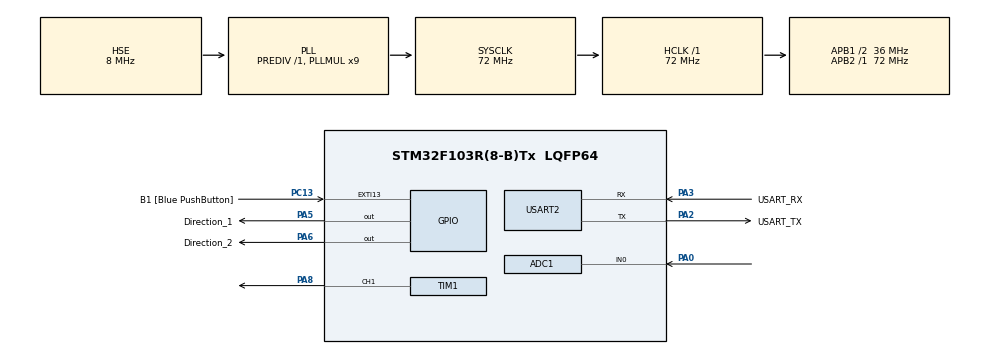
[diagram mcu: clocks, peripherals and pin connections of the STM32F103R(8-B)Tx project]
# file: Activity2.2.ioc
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ADC1.Channel-0\#ChannelRegularConversion=ADC_CHANNEL_0
ADC1.ContinuousConvMode=ENABLE
ADC1.NbrOfConversionFlag=1
ADC1.Rank-0\#ChannelRegularConversion=1
ADC1.SamplingTime-0\#ChannelRegularConversion=ADC_SAMPLETIME_28CYCLES_5
ADC1.master=1
Mcu.Family=STM32F1
Mcu.Name=STM32F103R(8-B)Tx
Mcu.Package=LQFP64
NVIC.EXTI15_10_IRQn=true\:0\:0\:false\:false\:true\:true\:true\:true
NVIC.PriorityGroup=NVIC_PRIORITYGROUP_4
PA0-WKUP.Signal=ADCx_IN0
PA13.GPIO_Label=TMS
PA13.Mode=Serial_Wire
PA13.Signal=SYS_JTMS-SWDIO
PA14.GPIO_Label=TCK
PA14.Mode=Serial_Wire
PA14.Signal=SYS_JTCK-SWCLK
PA2.GPIO_Label=USART_TX
PA2.GPIO_Mode=GPIO_MODE_AF_PP
PA2.GPIO_PuPd=GPIO_NOPULL
PA2.GPIO_Speed=GPIO_SPEED_FREQ_LOW
PA2.Mode=Asynchronous
PA2.Signal=USART2_TX
PA3.GPIO_Label=USART_RX
PA3.GPIO_Mode=GPIO_MODE_AF_PP
PA3.GPIO_PuPd=GPIO_NOPULL
PA3.GPIO_Speed=GPIO_SPEED_FREQ_LOW
PA3.Mode=Asynchronous
PA3.Signal=USART2_RX
PA5.GPIO_Label=Direction_1
PA5.Signal=GPIO_Output
PA6.GPIO_Label=Direction_2
PA6.Signal=GPIO_Output
PA8.Signal=S_TIM1_CH1
PB3.GPIO_Label=SWO
PB3.Signal=SYS_JTDO-TRACESWO
PC13-TAMPER-RTC.GPIO_Label=B1 [Blue PushButton]
PC13-TAMPER-RTC.GPIO_PuPd=GPIO_NOPULL
PC13-TAMPER-RTC.Signal=GPXTI13
PC14-OSC32_IN.Mode=LSE-External-Oscillator
PC14-OSC32_IN.Signal=RCC_OSC32_IN
PC15-OSC32_OUT.Mode=LSE-External-Oscillator
PC15-OSC32_OUT.Signal=RCC_OSC32_OUT
PD0-OSC_IN.Mode=HSE-External-Clock-Source
PD0-OSC_IN.Signal=RCC_OSC_IN
PD1-OSC_OUT.Mode=HSE-External-Clock-Source
PD1-OSC_OUT.Signal=RCC_OSC_OUT
ProjectManager.HeapSize=0x200
ProjectManager.StackSize=0x400
ProjectManager.TargetToolchain=STM32CubeIDE
RCC.ADCPresc=RCC_ADCPCLK2_DIV6
RCC.AHBFreq_Value=72000000
RCC.APB1CLKDivider=RCC_HCLK_DIV2
RCC.APB1Freq_Value=36000000
RCC.APB1TimFreq_Value=72000000
RCC.APB2Freq_Value=72000000
RCC.APB2TimFreq_Value=72000000
RCC.HCLKFreq_Value=72000000
RCC.PLLMUL=RCC_PLL_MUL9
RCC.PLLSourceVirtual=RCC_PLLSOURCE_HSE
RCC.RTCClockSelection=RCC_RTCCLKSOURCE_LSE
RCC.SYSCLKFreq_VALUE=72000000
RCC.SYSCLKSource=RCC_SYSCLKSOURCE_PLLCLK
RCC.USBFreq_Value=72000000
SH.ADCx_IN0.0=ADC1_IN0,IN0
SH.S_TIM1_CH1.0=TIM1_CH1,PWM Generation1 CH1
TIM1.AutoReloadPreload=TIM_AUTORELOAD_PRELOAD_ENABLE
TIM1.Channel-PWM\ Generation1\ CH1=TIM_CHANNEL_1
TIM1.OCFastMode_PWM-PWM\ Generation1\ CH1=TIM_OCFAST_ENABLE
TIM1.Period=35999
TIM1.Pulse-PWM\ Generation1\ CH1=0
USART2.VirtualMode=VM_ASYNC
VP_TIM1_VS_ClockSourceINT.Mode=Internal
board=NUCLEO-F103RB

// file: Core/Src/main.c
/* USER CODE BEGIN Header */
/**
  ******************************************************************************
  * @file           : main.c
  * @brief          : Main program body
  ******************************************************************************
  * @attention
  *
  * Copyright (c) 2025 STMicroelectronics.
  * All rights reserved.
  *
  * This software is licensed under terms that can be found in the LICENSE file
  * in the root directory of this software component.
  * If no LICENSE file comes with this software, it is provided AS-IS.
  *
  ******************************************************************************
  */
/* USER CODE END Header */
#include "main.h"

ADC_HandleTypeDef hadc1;

TIM_HandleTypeDef htim1;

UART_HandleTypeDef huart2;

void SystemClock_Config(void);
static void MX_GPIO_Init(void);
static void MX_USART2_UART_Init(void);
static void MX_ADC1_Init(void);
static void MX_TIM1_Init(void);

/* USER CODE BEGIN 0 */
int CH1_DC;
uint16_t VAL_Analog_Input;
float VAL_CCW = 1999;
float VAL_CW = 1695;
void Read_Potentiometer(void);
/* USER CODE END 0 */

int main(void)
{

  /* MCU Configuration--------------------------------------------------------*/

  /* Reset of all peripherals, Initializes the Flash interface and the Systick. */
  HAL_Init();

  /* Configure the system clock */
  SystemClock_Config();

  /* Initialize all configured peripherals */
  MX_GPIO_Init();
  MX_USART2_UART_Init();
  MX_ADC1_Init();
  MX_TIM1_Init();
  /* USER CODE BEGIN 2 */
  HAL_TIM_PWM_Start(&htim1, TIM_CHANNEL_1);
  HAL_GPIO_WritePin(GPIOC, GPIO_PIN_13, 1);
  CH1_DC = 0;
  /* USER CODE END 2 */

  /* Infinite loop */
  /* USER CODE BEGIN WHILE */
  while (1)
  {
	  Read_Potentiometer();
	  if (VAL_Analog_Input < 2000){
		  HAL_GPIO_WritePin(Direction_1_GPIO_Port, Direction_1_Pin, GPIO_PIN_SET);
		  HAL_GPIO_WritePin(Direction_2_GPIO_Port, Direction_2_Pin, GPIO_PIN_RESET);
		  CH1_DC = ((2000-VAL_Analog_Input)/VAL_CCW)*36000;

	  }
	  else if(VAL_Analog_Input > 2400){
		  HAL_GPIO_WritePin(Direction_1_GPIO_Port, Direction_1_Pin, GPIO_PIN_RESET);
		  HAL_GPIO_WritePin(Direction_2_GPIO_Port, Direction_2_Pin, GPIO_PIN_SET);
		  CH1_DC = ((VAL_Analog_Input-2400)/VAL_CW)*36000;

	  }
	  else{
		  CH1_DC = 0;
	  }
	  TIM1 -> CCR1 = CH1_DC;

    /* USER CODE END WHILE */

  }
}

void SystemClock_Config(void)
{
  RCC_OscInitTypeDef RCC_OscInitStruct = {0};
  RCC_ClkInitTypeDef RCC_ClkInitStruct = {0};
  RCC_PeriphCLKInitTypeDef PeriphClkInit = {0};

  /** Initializes the RCC Oscillators according to the specified parameters
  * in the RCC_OscInitTypeDef structure.
  */
  RCC_OscInitStruct.OscillatorType = RCC_OSCILLATORTYPE_HSE;
  RCC_OscInitStruct.HSEState = RCC_HSE_BYPASS;
  RCC_OscInitStruct.HSEPredivValue = RCC_HSE_PREDIV_DIV1;
  RCC_OscInitStruct.HSIState = RCC_HSI_ON;
  RCC_OscInitStruct.PLL.PLLState = RCC_PLL_ON;
  RCC_OscInitStruct.PLL.PLLSource = RCC_PLLSOURCE_HSE;
  RCC_OscInitStruct.PLL.PLLMUL = RCC_PLL_MUL9;
  if (HAL_RCC_OscConfig(&RCC_OscInitStruct) != HAL_OK)
  {
    Error_Handler();
  }

  /** Initializes the CPU, AHB and APB buses clocks
  */
  RCC_ClkInitStruct.ClockType = RCC_CLOCKTYPE_HCLK|RCC_CLOCKTYPE_SYSCLK
                              |RCC_CLOCKTYPE_PCLK1|RCC_CLOCKTYPE_PCLK2;
  RCC_ClkInitStruct.SYSCLKSource = RCC_SYSCLKSOURCE_PLLCLK;
  RCC_ClkInitStruct.AHBCLKDivider = RCC_SYSCLK_DIV1;
  RCC_ClkInitStruct.APB1CLKDivider = RCC_HCLK_DIV2;
  RCC_ClkInitStruct.APB2CLKDivider = RCC_HCLK_DIV1;

  if (HAL_RCC_ClockConfig(&RCC_ClkInitStruct, FLASH_LATENCY_2) != HAL_OK)
  {
    Error_Handler();
  }
  PeriphClkInit.PeriphClockSelection = RCC_PERIPHCLK_ADC;
  PeriphClkInit.AdcClockSelection = RCC_ADCPCLK2_DIV6;
  if (HAL_RCCEx_PeriphCLKConfig(&PeriphClkInit) != HAL_OK)
  {
    Error_Handler();
  }
}

static void MX_ADC1_Init(void)
{

  ADC_ChannelConfTypeDef sConfig = {0};

  /** Common config
  */
  hadc1.Instance = ADC1;
  hadc1.Init.ScanConvMode = ADC_SCAN_DISABLE;
  hadc1.Init.ContinuousConvMode = ENABLE;
  hadc1.Init.DiscontinuousConvMode = DISABLE;
  hadc1.Init.ExternalTrigConv = ADC_SOFTWARE_START;
  hadc1.Init.DataAlign = ADC_DATAALIGN_RIGHT;
  hadc1.Init.NbrOfConversion = 1;
  if (HAL_ADC_Init(&hadc1) != HAL_OK)
  {
    Error_Handler();
  }

  /** Configure Regular Channel
  */
  sConfig.Channel = ADC_CHANNEL_0;
  sConfig.Rank = ADC_REGULAR_RANK_1;
  sConfig.SamplingTime = ADC_SAMPLETIME_28CYCLES_5;
  if (HAL_ADC_ConfigChannel(&hadc1, &sConfig) != HAL_OK)
  {
    Error_Handler();
  }

}

static void MX_TIM1_Init(void)
{

  TIM_ClockConfigTypeDef sClockSourceConfig = {0};
  TIM_MasterConfigTypeDef sMasterConfig = {0};
  TIM_OC_InitTypeDef sConfigOC = {0};
  TIM_BreakDeadTimeConfigTypeDef sBreakDeadTimeConfig = {0};

  htim1.Instance = TIM1;
  htim1.Init.Prescaler = 0;
  htim1.Init.CounterMode = TIM_COUNTERMODE_UP;
  htim1.Init.Period = 35999;
  htim1.Init.ClockDivision = TIM_CLOCKDIVISION_DIV1;
  htim1.Init.RepetitionCounter = 0;
  htim1.Init.AutoReloadPreload = TIM_AUTORELOAD_PRELOAD_ENABLE;
  if (HAL_TIM_Base_Init(&htim1) != HAL_OK)
  {
    Error_Handler();
  }
  sClockSourceConfig.ClockSource = TIM_CLOCKSOURCE_INTERNAL;
  if (HAL_TIM_ConfigClockSource(&htim1, &sClockSourceConfig) != HAL_OK)
  {
    Error_Handler();
  }
  if (HAL_TIM_PWM_Init(&htim1) != HAL_OK)
  {
    Error_Handler();
  }
  sMasterConfig.MasterOutputTrigger = TIM_TRGO_RESET;
  sMasterConfig.MasterSlaveMode = TIM_MASTERSLAVEMODE_DISABLE;
  if (HAL_TIMEx_MasterConfigSynchronization(&htim1, &sMasterConfig) != HAL_OK)
  {
    Error_Handler();
  }
  sConfigOC.OCMode = TIM_OCMODE_PWM1;
  sConfigOC.Pulse = 0;
  sConfigOC.OCPolarity = TIM_OCPOLARITY_HIGH;
  sConfigOC.OCNPolarity = TIM_OCNPOLARITY_HIGH;
  sConfigOC.OCFastMode = TIM_OCFAST_ENABLE;
  sConfigOC.OCIdleState = TIM_OCIDLESTATE_RESET;
  sConfigOC.OCNIdleState = TIM_OCNIDLESTATE_RESET;
  if (HAL_TIM_PWM_ConfigChannel(&htim1, &sConfigOC, TIM_CHANNEL_1) != HAL_OK)
  {
    Error_Handler();
  }
  sBreakDeadTimeConfig.OffStateRunMode = TIM_OSSR_DISABLE;
  sBreakDeadTimeConfig.OffStateIDLEMode = TIM_OSSI_DISABLE;
  sBreakDeadTimeConfig.LockLevel = TIM_LOCKLEVEL_OFF;
  sBreakDeadTimeConfig.DeadTime = 0;
  sBreakDeadTimeConfig.BreakState = TIM_BREAK_DISABLE;
  sBreakDeadTimeConfig.BreakPolarity = TIM_BREAKPOLARITY_HIGH;
  sBreakDeadTimeConfig.AutomaticOutput = TIM_AUTOMATICOUTPUT_DISABLE;
  if (HAL_TIMEx_ConfigBreakDeadTime(&htim1, &sBreakDeadTimeConfig) != HAL_OK)
  {
    Error_Handler();
  }
  HAL_TIM_MspPostInit(&htim1);

}

static void MX_USART2_UART_Init(void)
{

  huart2.Instance = USART2;
  huart2.Init.BaudRate = 115200;
  huart2.Init.WordLength = UART_WORDLENGTH_8B;
  huart2.Init.StopBits = UART_STOPBITS_1;
  huart2.Init.Parity = UART_PARITY_NONE;
  huart2.Init.Mode = UART_MODE_TX_RX;
  huart2.Init.HwFlowCtl = UART_HWCONTROL_NONE;
  huart2.Init.OverSampling = UART_OVERSAMPLING_16;
  if (HAL_UART_Init(&huart2) != HAL_OK)
  {
    Error_Handler();
  }

}

static void MX_GPIO_Init(void)
{
  GPIO_InitTypeDef GPIO_InitStruct = {0};

  /* GPIO Ports Clock Enable */
  __HAL_RCC_GPIOC_CLK_ENABLE();
  __HAL_RCC_GPIOD_CLK_ENABLE();
  __HAL_RCC_GPIOA_CLK_ENABLE();
  __HAL_RCC_GPIOB_CLK_ENABLE();

  /*Configure GPIO pin Output Level */
  HAL_GPIO_WritePin(GPIOA, Direction_1_Pin|Direction_2_Pin, GPIO_PIN_RESET);

  /*Configure GPIO pin : B1_Pin */
  GPIO_InitStruct.Pin = B1_Pin;
  GPIO_InitStruct.Mode = GPIO_MODE_IT_RISING;
  GPIO_InitStruct.Pull = GPIO_NOPULL;
  HAL_GPIO_Init(B1_GPIO_Port, &GPIO_InitStruct);

  /*Configure GPIO pins : Direction_1_Pin Direction_2_Pin */
  GPIO_InitStruct.Pin = Direction_1_Pin|Direction_2_Pin;
  GPIO_InitStruct.Mode = GPIO_MODE_OUTPUT_PP;
  GPIO_InitStruct.Pull = GPIO_NOPULL;
  GPIO_InitStruct.Speed = GPIO_SPEED_FREQ_LOW;
  HAL_GPIO_Init(GPIOA, &GPIO_InitStruct);

  /* EXTI interrupt init*/
  HAL_NVIC_SetPriority(EXTI15_10_IRQn, 0, 0);
  HAL_NVIC_EnableIRQ(EXTI15_10_IRQn);

}

/* USER CODE BEGIN 4 */
void Read_Potentiometer(void){
	  HAL_ADC_Start(&hadc1);

	  HAL_ADC_PollForConversion(&hadc1, 1000);

	  VAL_Analog_Input = HAL_ADC_GetValue(&hadc1);

}
/* USER CODE END 4 */

void Error_Handler(void)
{
  __disable_irq();
  while (1)
  {
  }
}
